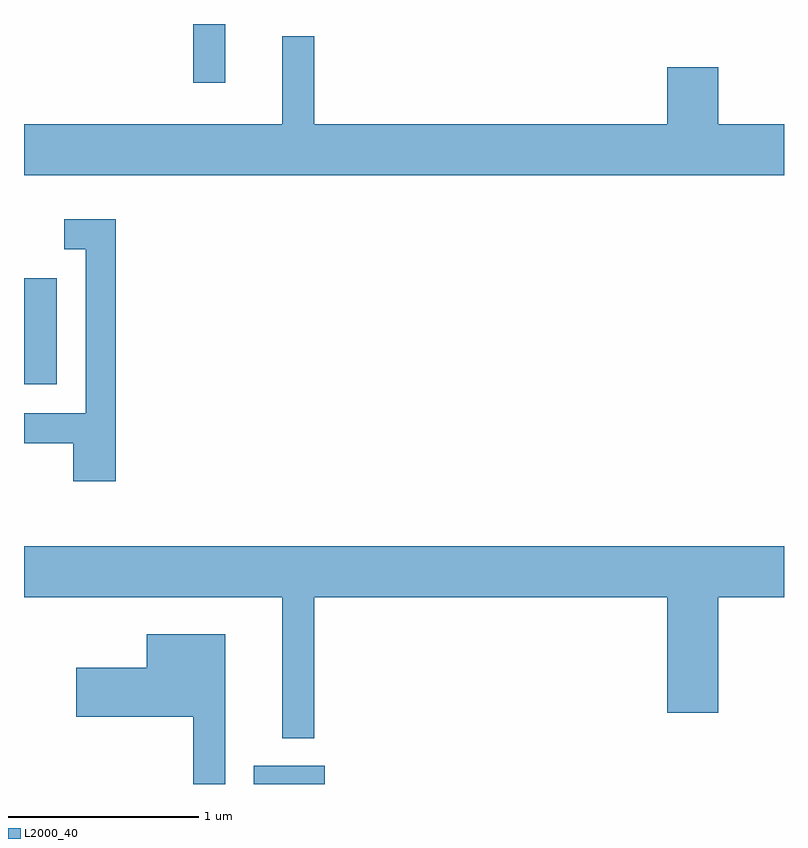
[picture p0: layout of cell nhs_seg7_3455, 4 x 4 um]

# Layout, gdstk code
import gdstk
lib = gdstk.Library(unit=1e-6, precision=1e-09)
def R(c, l, rs):  # rectangles x0, y0, x1, y1
    for r in rs: c.add(gdstk.rectangle(r[:2], r[2:], *l))
def P(c, l, *ps):  # polygons
    for p in ps: c.add(gdstk.Polygon(p, *l))
L2000_40 = (2000, 40)

nhs_seg7_3455 = lib.new_cell('nhs_seg7_3455')
R(nhs_seg7_3455, L2000_40, [(292.821,1682.252,293.194,1682.349), (291.611,1684.356,291.784,1684.914), (292.501,1685.943,292.669,1686.252)])
P(nhs_seg7_3455, L2000_40, [(295.611,1685.724),(295.264,1685.724),(295.264,1686.024),(294.996,1686.024),(294.996,1685.724),(293.139,1685.724),(293.139,1686.188),(292.971,1686.188),(292.971,1685.724),(291.611,1685.724),(291.611,1685.456),(295.611,1685.456)],
  [(292.094,1685.224),(291.823,1685.224),(291.823,1685.066),(291.936,1685.066),(291.936,1684.204),(291.611,1684.204),(291.611,1684.046),(291.871,1684.046),(291.871,1683.846),(292.094,1683.846)],
  [(293.139,1683.236),(294.996,1683.236),(294.996,1682.626),(295.264,1682.626),(295.264,1683.236),(295.611,1683.236),(295.611,1683.504),(291.611,1683.504),(291.611,1683.236),(292.971,1683.236),(292.971,1682.493),(293.139,1682.493)],
  [(292.669,1683.039),(292.256,1683.039),(292.256,1682.864),(291.886,1682.864),(291.886,1682.606),(292.501,1682.606),(292.501,1682.252),(292.669,1682.252)])

lib.write_gds('nhs_seg7_3455.gds')
